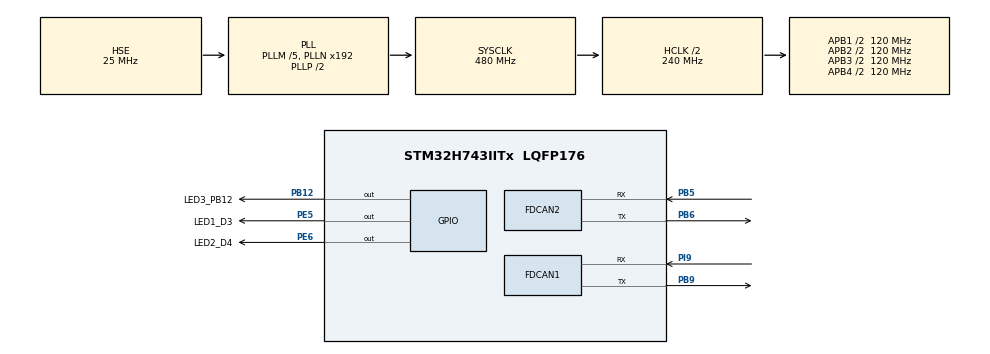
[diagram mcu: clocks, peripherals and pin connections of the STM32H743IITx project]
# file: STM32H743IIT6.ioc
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CORTEX_M7.CPU_DCache=Enabled
CORTEX_M7.CPU_ICache=Enabled
FDCAN1.DataTimeSeg1=0xF
FDCAN1.DataTimeSeg2=0x4
FDCAN1.NominalTimeSeg1=0xF
FDCAN1.NominalTimeSeg2=0x4
FDCAN1.ProtocolException=ENABLE
FDCAN1.RxFifo0ElmtsNbr=32
FDCAN1.StdFiltersNbr=1
FDCAN1.TxFifoQueueElmtsNbr=32
FDCAN2.DataTimeSeg1=0xF
FDCAN2.DataTimeSeg2=0x4
FDCAN2.MessageRAMOffset=0x406
FDCAN2.NominalTimeSeg1=0xF
FDCAN2.NominalTimeSeg2=0x4
FDCAN2.ProtocolException=ENABLE
FDCAN2.RxFifo1ElmtsNbr=32
FDCAN2.StdFiltersNbr=1
FDCAN2.TxFifoQueueElmtsNbr=32
Mcu.Family=STM32H7
Mcu.Name=STM32H743IITx
Mcu.Package=LQFP176
NVIC.FDCAN1_IT0_IRQn=true\:1\:0\:true\:false\:true\:true\:true
NVIC.FDCAN2_IT0_IRQn=true\:1\:0\:true\:false\:true\:true\:true
NVIC.PriorityGroup=NVIC_PRIORITYGROUP_4
NVIC.TIM17_IRQn=true\:0\:0\:false\:false\:true\:true\:true
PA13\ (JTMS/SWDIO).Mode=Serial_Wire
PA13\ (JTMS/SWDIO).Signal=DEBUG_JTMS-SWDIO
PA14\ (JTCK/SWCLK).Mode=Serial_Wire
PA14\ (JTCK/SWCLK).Signal=DEBUG_JTCK-SWCLK
PB12.GPIO_Label=LED3_PB12
PB12.GPIO_PuPd=GPIO_PULLDOWN
PB12.GPIO_Speed=GPIO_SPEED_FREQ_MEDIUM
PB12.Signal=GPIO_Output
PB5.GPIO_Speed=GPIO_SPEED_FREQ_MEDIUM
PB5.Mode=FDCAN_Activate
PB5.Signal=FDCAN2_RX
PB6.GPIO_Speed=GPIO_SPEED_FREQ_MEDIUM
PB6.Mode=FDCAN_Activate
PB6.Signal=FDCAN2_TX
PB9.GPIO_Speed=GPIO_SPEED_FREQ_MEDIUM
PB9.Mode=FDCAN_Activate
PB9.Signal=FDCAN1_TX
PE5.GPIO_Label=LED1_D3
PE5.GPIO_PuPd=GPIO_PULLDOWN
PE5.GPIO_Speed=GPIO_SPEED_FREQ_MEDIUM
PE5.Signal=GPIO_Output
PE6.GPIO_Label=LED2_D4
PE6.GPIO_PuPd=GPIO_PULLDOWN
PE6.GPIO_Speed=GPIO_SPEED_FREQ_MEDIUM
PE6.Signal=GPIO_Output
PH0-OSC_IN\ (PH0).Mode=HSE-External-Oscillator
PH0-OSC_IN\ (PH0).Signal=RCC_OSC_IN
PH1-OSC_OUT\ (PH1).Mode=HSE-External-Oscillator
PH1-OSC_OUT\ (PH1).Signal=RCC_OSC_OUT
PI9.GPIO_Speed=GPIO_SPEED_FREQ_MEDIUM
PI9.Mode=FDCAN_Activate
PI9.Signal=FDCAN1_RX
ProjectManager.HeapSize=0x200
ProjectManager.StackSize=0x400
ProjectManager.TargetToolchain=MDK-ARM V5.27
RCC.ADCFreq_Value=50390625
RCC.APB1Freq_Value=120000000
RCC.APB2Freq_Value=120000000
RCC.APB3Freq_Value=120000000
RCC.APB4Freq_Value=120000000
RCC.CortexFreq_Value=480000000
RCC.D1PPRE=RCC_APB3_DIV2
RCC.D2PPRE1=RCC_APB1_DIV2
RCC.D2PPRE2=RCC_APB2_DIV2
RCC.D3PPRE=RCC_APB4_DIV2
RCC.DIVM1=5
RCC.DIVN1=192
RCC.DIVQ1=48
RCC.HCLKFreq_Value=240000000
RCC.HPRE=RCC_HCLK_DIV2
RCC.PLLSourceVirtual=RCC_PLLSOURCE_HSE
RCC.SYSCLKFreq_VALUE=480000000
RCC.SYSCLKSource=RCC_SYSCLKSOURCE_PLLCLK
RCC.USBFreq_Value=20000000
TIM17.Prescaler=240-1
VP_TIM17_VS_ClockSourceINT.Mode=Enable_Timer
board=custom

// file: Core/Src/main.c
/* USER CODE BEGIN Header */
/**
  ******************************************************************************
  * @file           : main.c
  * @brief          : Main program body
  ******************************************************************************
  * @attention
  *
  * <h2><center>&copy; Copyright (c) 2021 STMicroelectronics.
  * All rights reserved.</center></h2>
  *
  * This software component is licensed by ST under BSD 3-Clause license,
  * the "License"; You may not use this file except in compliance with the
  * License. You may obtain a copy of the License at:
  *                        opensource.org/licenses/BSD-3-Clause
  *
  ******************************************************************************
  */
/* USER CODE END Header */
#include "main.h"
#include "fdcan.h"
#include "tim.h"
#include "gpio.h"

/* USER CODE BEGIN Includes */
#include "bsp_fdcan.h"
#include "bsp_canopen_timer.h"
#include "bsp_canopen.h"
#include "EventRecorder.h"
/* USER CODE END Includes */

void SystemClock_Config(void);

/* USER CODE BEGIN 0 */
_CANMSG can_msg;
/* USER CODE END 0 */

int main(void)
{

  /* Enable I-Cache---------------------------------------------------------*/
  SCB_EnableICache();

  /* Enable D-Cache---------------------------------------------------------*/
  SCB_EnableDCache();

  /* MCU Configuration--------------------------------------------------------*/

  /* Reset of all peripherals, Initializes the Flash interface and the Systick. */
  HAL_Init();

  /* Configure the system clock */
  SystemClock_Config();

  /* Initialize all configured peripherals */
  MX_GPIO_Init();
  MX_FDCAN1_Init();
  MX_FDCAN2_Init();
  MX_TIM17_Init();
  /* USER CODE BEGIN 2 */
	EventRecorderInitialize(EventRecordAll,1U);  /* 初始化Event Recorder */
  EventRecorderStart();						   					 /* 开启Event Recorder */

	fdcan1.rx_Filter_Init();     /* 初始化FDCAN1滤波器 */
	fdcan2.rx_Filter_Init();     /* 初始化FDCAN2滤波器 */
	fdcan1.start();              /* 启动FDCAN1 */
	fdcan2.start();              /* 启动FDCAN2 */
	fdcan1.rx_Interrupt_Init();  /* 打开FDCAN1的接收中断 */
	fdcan2.rx_Interrupt_Init();  /* 打开FDCAN2的接收中断 */
	CANopen_Init();              /* 初始化CANopen，FDNCAN1为CANopen从站 */

  /* USER CODE END 2 */

  /* Infinite loop */
  while (1)
  {

    /* USER CODE BEGIN 3 */
		//can_msg.id  = 0x100;       /* CAN报文的ID */
		//can_msg.len = 0x08;        /* CAN报文长度 */
		//can_msg.rtr = DATA_FRAME;  /* 数据帧 */
		//can_msg.buffer[0] = 0x01;
		//can_msg.buffer[1] = 0x02;
		//can_msg.buffer[2] = 0x03;
		//can_msg.buffer[3] = 0x04;
		//can_msg.buffer[4] = 0x05;
		//can_msg.buffer[5] = 0x06;
		//can_msg.buffer[6] = 0x07;
		//can_msg.buffer[7] = 0x08;

		//fdcan1.send_MSG(&can_msg);  /* 在FDCAN1上发送CAN报文 */
		//dcan2.send_MSG(&can_msg);   /* 在FDCAN2上发送CAN报文 */

		HAL_GPIO_TogglePin(LED1_D3_GPIO_Port,LED1_D3_Pin);  /* 翻转LED */
		HAL_Delay(300);
  }
  /* USER CODE END 3 */
}

void SystemClock_Config(void)
{
  RCC_OscInitTypeDef RCC_OscInitStruct = {0};
  RCC_ClkInitTypeDef RCC_ClkInitStruct = {0};

  /** Supply configuration update enable
  */
  HAL_PWREx_ConfigSupply(PWR_LDO_SUPPLY);
  /** Configure the main internal regulator output voltage
  */
  __HAL_PWR_VOLTAGESCALING_CONFIG(PWR_REGULATOR_VOLTAGE_SCALE0);

  while(!__HAL_PWR_GET_FLAG(PWR_FLAG_VOSRDY)) {}
  /** Initializes the RCC Oscillators according to the specified parameters
  * in the RCC_OscInitTypeDef structure.
  */
  RCC_OscInitStruct.OscillatorType = RCC_OSCILLATORTYPE_HSE;
  RCC_OscInitStruct.HSEState = RCC_HSE_ON;
  RCC_OscInitStruct.PLL.PLLState = RCC_PLL_ON;
  RCC_OscInitStruct.PLL.PLLSource = RCC_PLLSOURCE_HSE;
  RCC_OscInitStruct.PLL.PLLM = 5;
  RCC_OscInitStruct.PLL.PLLN = 192;
  RCC_OscInitStruct.PLL.PLLP = 2;
  RCC_OscInitStruct.PLL.PLLQ = 48;
  RCC_OscInitStruct.PLL.PLLR = 2;
  RCC_OscInitStruct.PLL.PLLRGE = RCC_PLL1VCIRANGE_2;
  RCC_OscInitStruct.PLL.PLLVCOSEL = RCC_PLL1VCOWIDE;
  RCC_OscInitStruct.PLL.PLLFRACN = 0;
  if (HAL_RCC_OscConfig(&RCC_OscInitStruct) != HAL_OK)
  {
    Error_Handler();
  }
  /** Initializes the CPU, AHB and APB buses clocks
  */
  RCC_ClkInitStruct.ClockType = RCC_CLOCKTYPE_HCLK|RCC_CLOCKTYPE_SYSCLK
                              |RCC_CLOCKTYPE_PCLK1|RCC_CLOCKTYPE_PCLK2
                              |RCC_CLOCKTYPE_D3PCLK1|RCC_CLOCKTYPE_D1PCLK1;
  RCC_ClkInitStruct.SYSCLKSource = RCC_SYSCLKSOURCE_PLLCLK;
  RCC_ClkInitStruct.SYSCLKDivider = RCC_SYSCLK_DIV1;
  RCC_ClkInitStruct.AHBCLKDivider = RCC_HCLK_DIV2;
  RCC_ClkInitStruct.APB3CLKDivider = RCC_APB3_DIV2;
  RCC_ClkInitStruct.APB1CLKDivider = RCC_APB1_DIV2;
  RCC_ClkInitStruct.APB2CLKDivider = RCC_APB2_DIV2;
  RCC_ClkInitStruct.APB4CLKDivider = RCC_APB4_DIV2;

  if (HAL_RCC_ClockConfig(&RCC_ClkInitStruct, FLASH_LATENCY_4) != HAL_OK)
  {
    Error_Handler();
  }
}

/* USER CODE BEGIN 4 */
/**
  * 函数功能: 定时器溢出回调函数
  * 输入参数: TIM_HandleTypeDef *htim
  *
  * 返回值：  void
  *
  *
  * 说明:
  *
  */
void HAL_TIM_PeriodElapsedCallback(TIM_HandleTypeDef *htim)
{
	/* 看看是不是TIM17 */
  if (htim->Instance == TIM17) {
    TIMx_DispatchFromISR();
  }

}
/* USER CODE END 4 */

void Error_Handler(void)
{
  __disable_irq();
  while (1)
  {
  }
}

/************************ (C) COPYRIGHT STMicroelectronics *****END OF FILE****/
